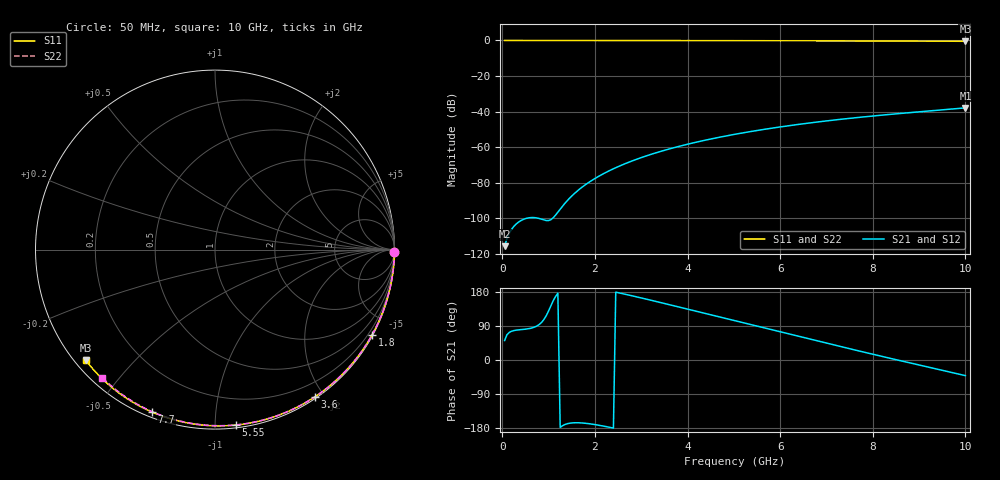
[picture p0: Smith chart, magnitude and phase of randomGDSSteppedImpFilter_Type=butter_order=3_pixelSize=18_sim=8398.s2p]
! freq	dB(S11)	phase(S11)	dB(S12)	phase(S12)
!  dB(S21)	phase(S21)	dB(S22)	phase(S22)
!S-par simulation data
#  GHz  S  DB  R 50
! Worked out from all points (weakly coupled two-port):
!   200 points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, 50 MHz to 10 GHz, reference 50 ohm
!   highest |S21| = -37.89 dB at 10 GHz (marker M1); lowest = -115.6 dB at 50 MHz (marker M2)
!   lowest |S11| = -0.5 dB at 10 GHz (marker M3), VSWR 37.44, Z = 1.52 - j18.5 ohm
!   |S11| at or under -10 dB: nowhere
!   |S22| runs from -0.4 to 0.0 dB; largest |S21 - S12| = 0
!   S11 on the Smith chart (normalised r, x): 50 MHz: open; 1.8 GHz: 0.03, -3.92; 3.6 GHz: 0.02, -1.89; 5.55 GHz: 0.02, -1.12; 7.7 GHz: 0.02, -0.68; 10 GHz: 0.03, -0.37
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0.05  -0.00 -0.8  -115.64 51.3  -115.64 51.3  -0.00 -0.8
0.45  -0.01 -7.3  -100.64 80.7  -100.64 80.7  -0.01 -6.8
0.9  -0.02 -14.4  -100.92 107.1  -100.92 107.1  -0.02 -13.6
1.75  -0.04 -27.8  -81.93 -166.4  -81.93 -166.4  -0.03 -26.2
1.8  -0.04 -28.6  -80.99 -167.1  -80.99 -167.1  -0.03 -26.9
1.85  -0.04 -29.4  -80.09 -167.8  -80.09 -167.8  -0.04 -27.7
2.15  -0.04 -34.0  -75.38 -173.6  -75.38 -173.6  -0.04 -32.0
2.35  -0.05 -37.1  -72.73 -178.4  -72.73 -178.4  -0.04 -34.9
2.55  -0.05 -40.1  -70.37 176.4  -70.37 176.4  -0.05 -37.8
2.95  -0.06 -46.2  -66.31 165.3  -66.31 165.3  -0.06 -43.5
3.4  -0.07 -52.9  -62.51 152.2  -62.51 152.2  -0.07 -49.9
3.6  -0.08 -55.8  -61.02 146.2  -61.02 146.2  -0.07 -52.7
3.9  -0.08 -60.2  -58.97 137.3  -58.97 137.3  -0.08 -56.8
4.3  -0.09 -66.0  -56.52 125.2  -56.52 125.2  -0.09 -62.2
5.05  -0.12 -76.5  -52.62 102.7  -52.62 102.7  -0.11 -72.2
5.55  -0.14 -83.3  -50.40 87.7  -50.40 87.7  -0.13 -78.6
6.1  -0.16 -90.6  -48.24 71.2  -48.24 71.2  -0.15 -85.6
6.7  -0.19 -98.5  -46.17 53.4  -46.17 53.4  -0.18 -93.0
7.7  -0.26 -111.2  -43.24 23.9  -43.24 23.9  -0.24 -105.0
8.35  -0.31 -119.2  -41.61 5.2  -41.61 5.2  -0.29 -112.6
9.2  -0.38 -129.7  -39.67 -18.8  -39.67 -18.8  -0.36 -122.3
10  -0.46 -139.4  -37.89 -41.3  -37.89 -41.3  -0.44 -131.4
